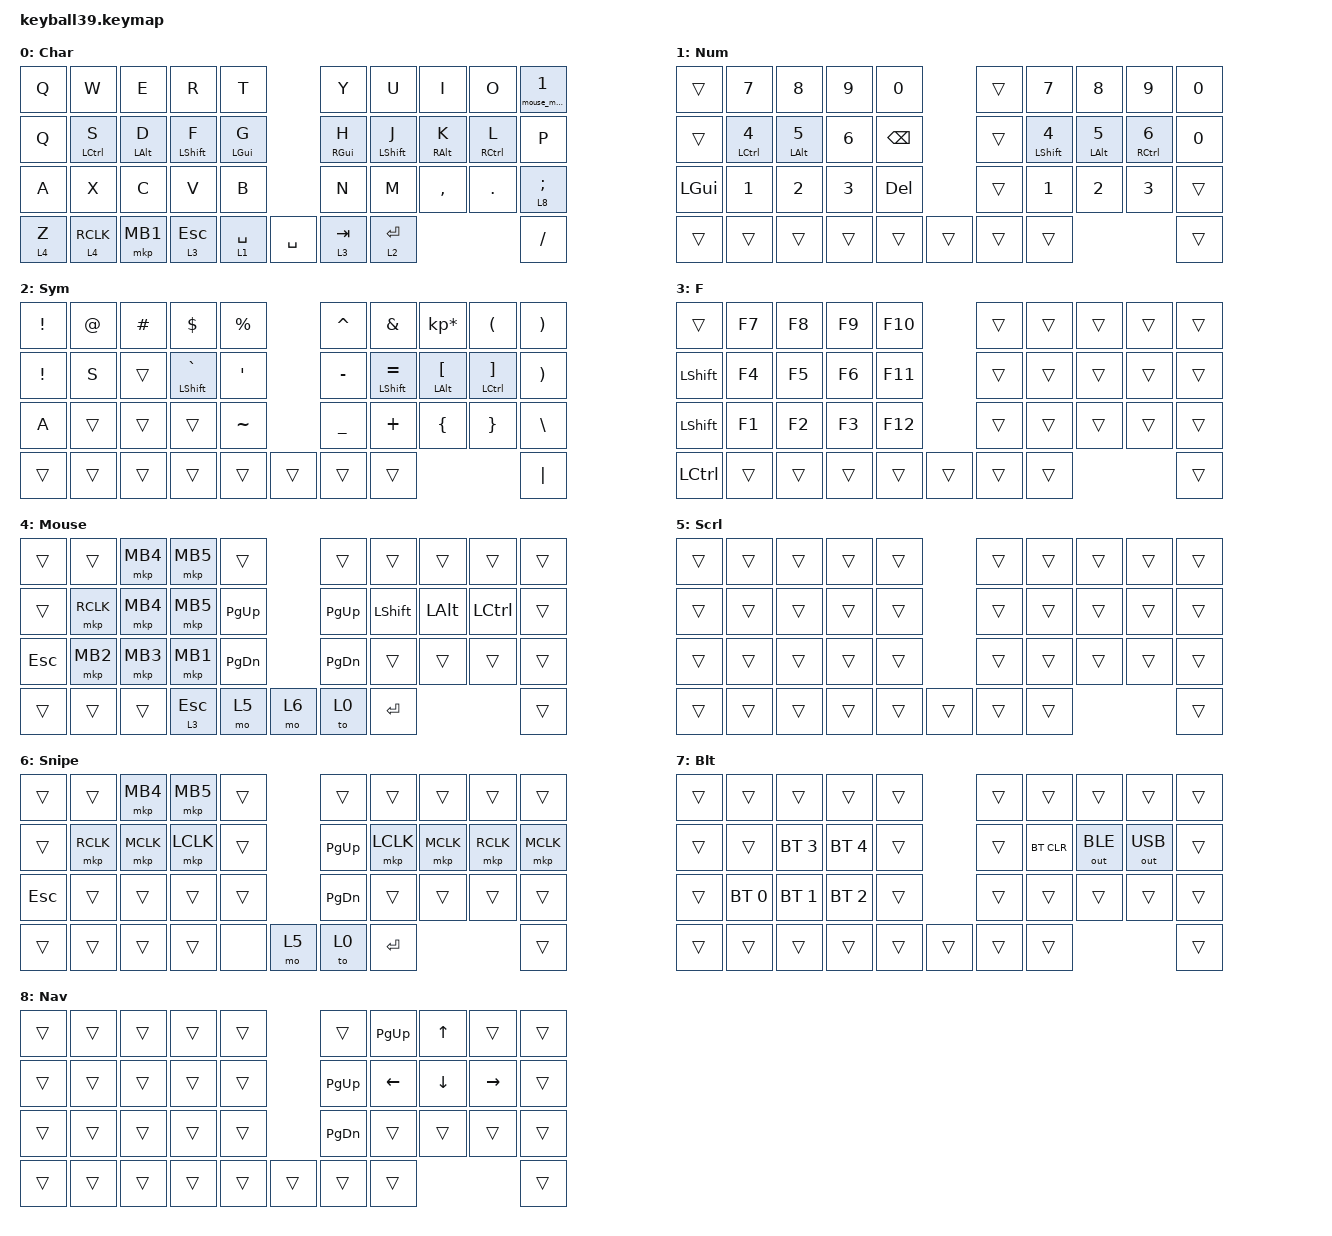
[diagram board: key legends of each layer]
#define DEFAULT 0
#define NUM     1
#define SYM     2
#define FUN     3
#define MOUSE   4
#define SCROLL  5
#define SNIPE   6

#include <behaviors/mouse_keys.dtsi>
#include <dt-bindings/zmk/mouse.h>
#include <behaviors.dtsi>
#include <dt-bindings/zmk/bt.h>
#include <dt-bindings/zmk/keys.h>
#include <dt-bindings/zmk/outputs.h>
#include <dt-bindings/zmk/pointing.h>

#include <behaviors/mouse_mover.dtsi>

/* enable the host route on the central build */
&mouse_mover_listener {
    status = "okay";
};


&nice_view_spi { cs-gpios = <&pro_micro 1 GPIO_ACTIVE_HIGH>; };

&lt {
    flavor = "balanced";
    quick-tap-ms = <150>;
    tapping-term-ms = <180>;
};

&mt {
    flavor = "tap-preferred";
    quick-tap-ms = <150>;
    tapping-term-ms = <180>;
};

/ {
    // custom shift using mod-morph 

    macros {
        Hiragana: Hiragana {
            compatible = "zmk,behavior-macro";
            #binding-cells = <0>;
            bindings = <&kp LC(SPACE)>;
            label = "HIRAGANA";
        };
    };

    combos {
        compatible = "zmk,combos";

        combo_blt_layer {
            bindings = <&mo 7>;
            key-positions = <34 37>;
            layers = <0>;
        };

        combo_caps_word {
            bindings = <&caps_word>;
            key-positions = <35 36>;
            layers = <0>;
        };
    };

    behaviors {
        layer_mkp: layer_mkp {
            compatible = "zmk,behavior-hold-tap";
            label = "Momentary Layer/Mouse Key Press";
            bindings = <&mo>, <&mkp>;

            #binding-cells = <2>;
            tapping-term-ms = <200>;
        };
    };

    keymap {
        compatible = "zmk,keymap";

        default_layer {
            label = "Char";
            bindings = <
&kp Q    &kp W              &kp E           &kp R        &kp T                                 &kp Y            &kp U        &kp I            &kp O        &mouse_mover 1
&kp Q    &mt LCTRL S        &mt LEFT_ALT D  &mt LSHFT F  &mt LEFT_GUI G                        &mt RIGHT_GUI H  &mt LSHFT J  &mt RIGHT_ALT K  &mt RCTRL L  &kp P
&kp A    &kp X              &kp C           &kp V        &kp B                                 &kp N            &kp M        &kp COMMA        &kp DOT      &lt 8 SEMICOLON
&lt 4 Z  &layer_mkp 4 RCLK  &mkp MB1        &lt 3 ESC    &lt 1 SPACE     &kp SPACE  &lt 3 TAB  &lt 2 RET                                                   &kp SLASH
            >;
        };

        number_layer {
            label = "Num";
            bindings = <
&trans        &kp N7              &kp N8           &kp N9  &kp N0                    &trans  &kp N7                   &kp N8           &kp N9              &kp N0
&trans        &mt LCTRL NUMBER_4  &mt LEFT_ALT N5  &kp N6  &kp BSPC                  &trans  &mt LEFT_SHIFT NUMBER_4  &mt LEFT_ALT N5  &mt RCTRL NUMBER_6  &kp N0
&kp LEFT_GUI  &kp N1              &kp N2           &kp N3  &kp DEL                   &trans  &kp N1                   &kp N2           &kp N3              &trans
&trans        &trans              &trans           &trans  &trans    &trans  &trans  &trans                                                                &trans
            >;
        };

        symbol_layer {
            label = "Sym";
            bindings = <
&kp EXCL         &kp AT  &kp HASH  &kp DOLLAR            &kp PERCENT                  &kp CARET       &kp AMPS              &kp KP_MULTIPLY            &kp LEFT_PARENTHESIS            &kp RIGHT_PARENTHESIS
&kp EXCLAMATION  &kp S   &trans    &mt LEFT_SHIFT GRAVE  &kp SQT                      &kp MINUS       &mt LEFT_SHIFT EQUAL  &mt LEFT_ALT LEFT_BRACKET  &mt LEFT_CONTROL RIGHT_BRACKET  &kp RIGHT_PARENTHESIS
&kp A            &trans  &trans    &trans                &kp TILDE                    &kp UNDERSCORE  &kp PLUS              &kp LEFT_BRACE             &kp RIGHT_BRACE                 &kp BACKSLASH
&trans           &trans  &trans    &trans                &trans       &trans  &trans  &trans                                                                                           &kp PIPE
            >;
        };

        function_layer {
            label = "F";
            bindings = <
&trans            &kp F7  &kp F8  &kp F9  &kp F10                  &trans  &trans  &trans  &trans  &trans
&kp LSHFT         &kp F4  &kp F5  &kp F6  &kp F11                  &trans  &trans  &trans  &trans  &trans
&kp LEFT_SHIFT    &kp F1  &kp F2  &kp F3  &kp F12                  &trans  &trans  &trans  &trans  &trans
&kp LEFT_CONTROL  &trans  &trans  &trans  &trans   &trans  &trans  &trans                          &trans
            >;
        };

        mouse_layer {
            label = "Mouse";
            bindings = <
&trans      &trans     &mkp MB4  &mkp MB5      &trans                       &trans         &trans          &trans        &trans            &trans
&trans      &mkp RCLK  &mkp MB4  &mkp MB5      &kp PAGE_UP                  &kp PAGE_UP    &kp LEFT_SHIFT  &kp LEFT_ALT  &kp LEFT_CONTROL  &trans
&kp ESCAPE  &mkp MB2   &mkp MB3  &mkp MB1      &kp PAGE_DOWN                &kp PAGE_DOWN  &trans          &trans        &trans            &trans
&trans      &trans     &trans    &lt 3 ESCAPE  &mo 5          &mo 6  &to 0  &kp ENTER                                                      &trans
            >;
        };

        scroll_layer {
            label = "Scrl";
            bindings = <
&trans  &trans  &trans  &trans  &trans                  &trans  &trans  &trans  &trans  &trans
&trans  &trans  &trans  &trans  &trans                  &trans  &trans  &trans  &trans  &trans
&trans  &trans  &trans  &trans  &trans                  &trans  &trans  &trans  &trans  &trans
&trans  &trans  &trans  &trans  &trans  &trans  &trans  &trans                          &trans
            >;
        };

        snipe_layer {
            label = "Snipe";
            bindings = <
&trans      &trans     &mkp MB4   &mkp MB5   &trans                &trans         &trans     &trans     &trans     &trans
&trans      &mkp RCLK  &mkp MCLK  &mkp LCLK  &trans                &kp PAGE_UP    &mkp LCLK  &mkp MCLK  &mkp RCLK  &mkp MCLK
&kp ESCAPE  &trans     &trans     &trans     &trans                &kp PAGE_DOWN  &trans     &trans     &trans     &trans
&trans      &trans     &trans     &trans     &none   &mo 5  &to 0  &kp ENTER                                       &trans
            >;
        };

        bluetooth_layer {
            bindings = <
&trans  &trans        &trans        &trans        &trans                  &trans  &trans      &trans        &trans        &trans
&trans  &trans        &bt BT_SEL 3  &bt BT_SEL 4  &trans                  &trans  &bt BT_CLR  &out OUT_BLE  &out OUT_USB  &trans
&trans  &bt BT_SEL 0  &bt BT_SEL 1  &bt BT_SEL 2  &trans                  &trans  &trans      &trans        &trans        &trans
&trans  &trans        &trans        &trans        &trans  &trans  &trans  &trans                                          &trans
            >;

            label = "Blt";
        };

        navigation_layer {
            bindings = <
&trans  &trans  &trans  &trans  &trans                  &trans         &kp PAGE_UP     &kp UP_ARROW  &trans     &trans
&trans  &trans  &trans  &trans  &trans                  &kp PAGE_UP    &kp LEFT_ARROW  &kp DOWN      &kp RIGHT  &trans
&trans  &trans  &trans  &trans  &trans                  &kp PAGE_DOWN  &trans          &trans        &trans     &trans
&trans  &trans  &trans  &trans  &trans  &trans  &trans  &trans                                                  &trans
            >;

            label = "Nav";
        };
    };
};
